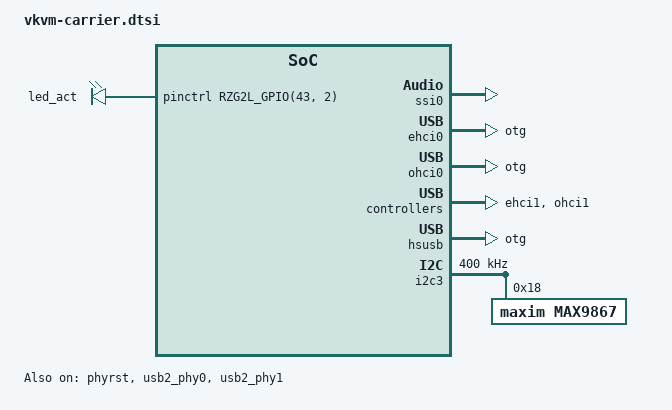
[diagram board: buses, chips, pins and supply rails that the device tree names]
#include <dt-bindings/gpio/gpio.h>
#include <dt-bindings/pinctrl/rzg2l-pinctrl.h>

#include "vkvm-carrier-pins.dtsi"

/ {
/*LED */
	leds:leds {
		compatible = "gpio-leds";
		led_act:led-act {
			linux,default-trigger = "heartbeat";
			gpios = <&pinctrl RZG2L_GPIO(43, 2) GPIO_ACTIVE_HIGH>;
			default-state = "on";
		};
	};
/* Audio */
	sound_codec: sound-max9867 {
		compatible = "simple-audio-card";
		simple-audio-card,name = "audio-max9867";
		simple-audio-card,format = "i2s";
		simple-audio-card,bitclock-master = <&cpu_dai>;
		simple-audio-card,frame-master = <&cpu_dai>;
		status = "okay";

		simple-audio-card,mclk-fs = <256>;

		simple-audio-card,widgets =
			"Headphone", "Headset Headphone",
			"Microphone", "Headset Microphone";

		simple-audio-card,routing =
			"Headset Headphone", "LOUT",
			"Headset Headphone", "ROUT",
			"MICL", "Headset Microphone";

		cpu_dai: simple-audio-card,cpu {
			sound-dai = <&ssi0>;
		};

		codec_dai: simple-audio-card,codec {
			sound-dai = <&max9867>;
			clocks = <&audio_mclock>;
			system-clock-fixed;
		};
	};
};

&ssi0 {
	pinctrl-0 = <&ssi0_pins>;
	pinctrl-names = "default";
	status = "okay";
};

/* USBs */
&ehci0 {
	memory-region = <&global_cma>;
	dr_mode = "otg";
	status = "okay";
};

&ohci0 {
	memory-region = <&global_cma>;
	dr_mode = "otg";
	status = "okay";
};

&ehci1 {
	memory-region = <&global_cma>;
	status = "okay";
};

&ohci1 {
	memory-region = <&global_cma>;
	status = "okay";
};

&hsusb {
	dr_mode = "otg";
	status = "okay";
};

&phyrst {
	status = "okay";
};

&usb2_phy0 {
	pinctrl-0 = <&usb0_pins>;
	pinctrl-names = "default";

	vbus-supply = <&vbus0_5v>;
	status = "okay";
};

&usb2_phy1 {
	pinctrl-0 = <&usb1_pins>;
	pinctrl-names = "default";

	vbus-supply = <&vbus0_5v>;
	status = "okay";
};

&i2c3 {
	pinctrl-0 = <&i2c3_pins>;
	pinctrl-names = "default";
	clock-frequency = <400000>;
	status = "okay";

	/* MAX9867 Codec */
	max9867: codec@18 {
		compatible = "maxim,max9867";
		#sound-dai-cells = <0>;
		reg = <0x18>;
		clocks = <&audio_mclock>;
		clock-names = "mclk";
		status = "okay";
	};
};



